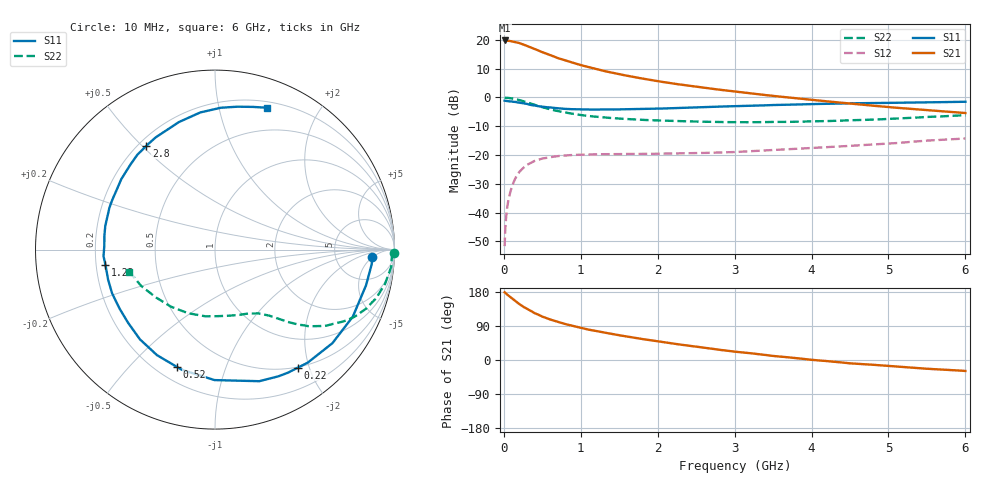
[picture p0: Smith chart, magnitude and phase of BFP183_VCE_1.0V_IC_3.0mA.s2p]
! Infineon Technologies  Discrete & RF Semiconductors
! BFP183
! VCE = 1.0 V,  IC =  3.0 mA
! Common Emitter S-Parameters:  Jan 2016
# GHz  S  MA  R  50
!  f  S11  S21  S12  S22
! GHz  MAG  ANG  MAG  ANG  MAG  ANG  MAG  ANG
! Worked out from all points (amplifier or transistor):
!   210 points, 10 MHz to 6 GHz, reference 50 ohm
!   highest |S21| = 19.8 dB at 10 MHz (marker M1)
!   |S21| within 3 dB of that: start of sweep to 404.4 MHz
!   unconditionally stable (mu >= 1): 1.791 GHz to end of sweep
!   at 185 MHz: K = 0.12, MSG = 22.8 dB, |S12| = -26.5 dB
!   at 1.52 GHz: K = 0.88, MSG = 13.8 dB, |S12| = -19.7 dB
!   at 6 GHz: K = 1.05, MAG = 3.1 dB, |S12| = -14.3 dB
!   S11 on the Smith chart (normalised r, x): 10 MHz: 14, -5; 220 MHz: 0.49, -1.82; 520 MHz: 0.28, -0.69; 1.22 GHz: 0.24, -0.07; 2.8 GHz: 0.23, +0.52; 6 GHz: 0.26, +1.40
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0.01  0.8784 -2.6  9.791 178.6  0.0026 88.7  0.9962 -1.1
0.03  0.8709 -8.0  9.703 175.3  0.0083 85.8  0.9858 -3.4
0.065  0.8571 -17.0  9.62 169.2  0.0178 80.4  0.9792 -7.4
0.1  0.8539 -25.9  9.482 163.4  0.0268 75.3  0.9663 -11.4
0.15  0.8366 -38.5  9.142 155.4  0.0395 69.0  0.939 -16.6
0.2  0.8147 -50.6  8.844 147.8  0.0505 63.5  0.9039 -21.3
0.22  0.8037 -54.9  8.634 145.1  0.0539 60.9  0.8872 -23.0
0.3  0.7736 -71.4  7.888 135.2  0.0672 52.9  0.8211 -29.1
0.4  0.727 -90.2  6.972 123.7  0.0788 44.7  0.7452 -34.8
0.52  0.6869 -108.1  5.996 113.1  0.0877 37.0  0.6661 -39.7
0.6  0.671 -118.8  5.485 107.1  0.0918 33.1  0.6222 -42.1
0.7  0.6519 -129.9  4.844 100.7  0.0956 29.5  0.5796 -44.4
0.8  0.633 -139.9  4.403 94.8  0.0981 26.4  0.5463 -46.1
1.02  0.6213 -158.5  3.594 83.9  0.1014 21.8  0.4911 -49.5
1.22  0.6162 -172.0  3.069 75.8  0.1031 18.7  0.4598 -52.3
1.54  0.6222 170.9  2.475 63.9  0.1038 16.4  0.4259 -56.5
2.02  0.6398 149.6  1.901 48.7  0.1052 15.9  0.3975 -64.2
2.8  0.6937 123.4  1.366 27.0  0.1107 17.8  0.3744 -80.6
3.1  0.7109 115.3  1.224 20.1  0.1143 18.3  0.3711 -88.0
4.1  0.7717 94.4  0.883 -1.1  0.1347 20.0  0.3861 -115.9
5.1  0.8085 79.9  0.663 -17.0  0.1611 19.3  0.4286 -143.7
6  0.8417 69.9  0.536 -28.9  0.1935 13.6  0.4923 -165.5
